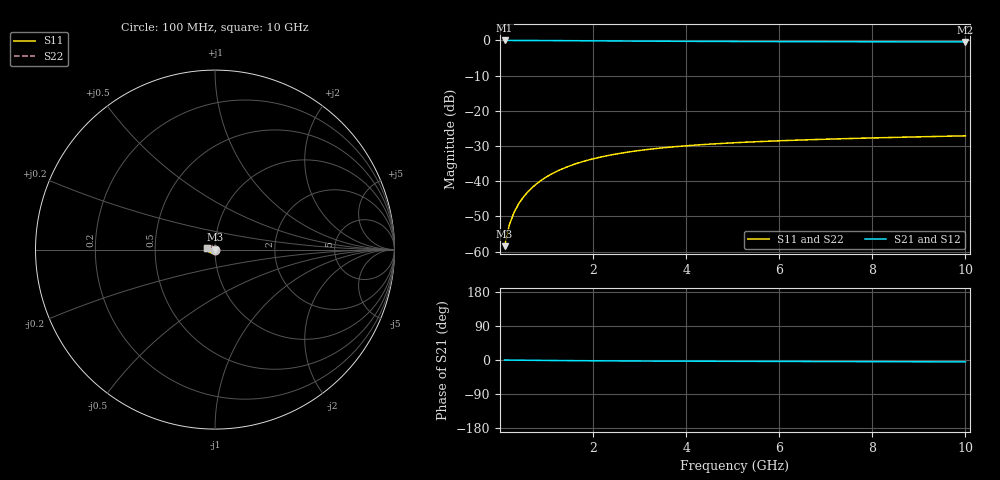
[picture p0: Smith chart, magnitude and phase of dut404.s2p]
! Touchstone file exported from HFSS 2024.1.0
!  File:  C:/UserFiles/LocalFiles/RDL_TSV_Batchsim/temp_TSV1_404_1779691859.aedt
!  Generated:  02:58:54 PM May 25, 2026
!  Design:  TSV1
!  Project:  temp_TSV1_404_1779691859
!  Setup:  Setup1
!  Solution:  Sweep
! Variables:
!  dtsv = 10.58um
!  hbump = 3um
!  htsv = 76.57um
!  lrdl = 252.1521522um
!  p = 40
!  p1 = 54.92um
!  t = 500um
!  trdl = 3um
!  wrdl = 24.89489489um
# GHz S MA R 50.000000
! Terminal data exported
! Port[1] = TSV22_T1
! Port[2] = TSV22_T2
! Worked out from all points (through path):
!   100 points, 100 MHz to 10 GHz, reference 50 ohm
!   highest |S21| = 0.00 dB at 100 MHz (marker M1); lowest = -0.4 dB at 10 GHz (marker M2)
!   lowest |S11| = -58.5 dB at 100 MHz (marker M3), VSWR 1.00, Z = 50 - j0.119 ohm
!   |S11| at or under -10 dB: start of sweep to end of sweep
!   |S22| runs from -58.5 to -27.1 dB; largest |S21 - S12| = 6.6e-15
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0.1  0.001194 -85.9  0.9998 -0.1  0.9998 -0.1  0.001194 -85.9
! Gamma 0 0 0 0
! Port Impedance 50 0 50 0
0.2  0.002378 -90.7  0.9997 -0.2  0.9997 -0.2  0.002378 -90.7
0.3  0.003563 -93.6  0.9995 -0.4  0.9995 -0.4  0.003563 -93.6
0.4  0.004743 -96.0  0.9992 -0.5  0.9992 -0.5  0.004743 -96.0
0.5  0.005913 -98.2  0.9988 -0.6  0.9988 -0.6  0.005913 -98.2
0.6  0.007071 -100.4  0.9984 -0.7  0.9984 -0.7  0.007071 -100.4
0.7  0.008212 -102.4  0.9979 -0.8  0.9979 -0.8  0.008212 -102.4
0.8  0.009334 -104.4  0.9973 -1.0  0.9973 -1.0  0.009334 -104.4
0.9  0.01043 -106.4  0.9967 -1.1  0.9967 -1.1  0.01043 -106.4
1.1  0.01256 -110.2  0.9953 -1.3  0.9953 -1.3  0.01256 -110.2
1.4  0.01556 -115.6  0.9929 -1.6  0.9929 -1.6  0.01556 -115.6
1.6  0.01742 -119.1  0.9912 -1.7  0.9912 -1.7  0.01742 -119.1
1.8  0.01916 -122.4  0.9894 -1.9  0.9894 -1.9  0.01916 -122.4
2.1  0.02156 -127.0  0.9867 -2.1  0.9867 -2.1  0.02156 -127.0
2.5  0.02437 -132.8  0.9831 -2.4  0.9831 -2.4  0.02437 -132.8
2.9  0.02679 -138.0  0.9798 -2.6  0.9798 -2.6  0.02679 -138.0
3.4  0.02934 -143.9  0.976 -2.8  0.976 -2.8  0.02934 -143.9
4.2  0.03258 -152.1  0.9708 -3.2  0.9708 -3.2  0.03258 -152.1
5.1  0.03535 -159.9  0.9662 -3.5  0.9662 -3.5  0.03535 -159.9
6.7  0.03894 -171.1  0.9605 -4.0  0.9605 -4.0  0.03894 -171.1
8.4  0.04181 179.3  0.9566 -4.5  0.9566 -4.5  0.04181 179.3
10  0.04412 171.8  0.9541 -5.0  0.9541 -5.0  0.04412 171.8
